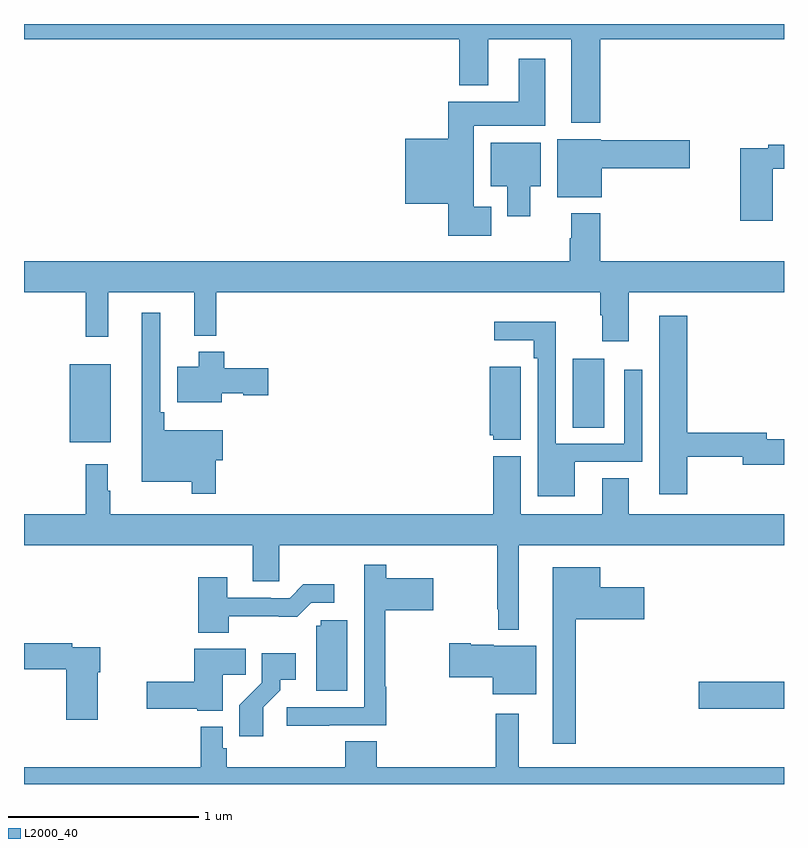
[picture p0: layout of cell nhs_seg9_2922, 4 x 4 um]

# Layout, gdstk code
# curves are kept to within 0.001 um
import gdstk
lib = gdstk.Library(unit=1e-6, precision=1e-09)
def R(c, l, rs):  # rectangles x0, y0, x1, y1
    for r in rs: c.add(gdstk.rectangle(r[:2], r[2:], *l))
def P(c, l, *ps):  # polygons
    for p in ps: c.add(gdstk.Polygon(p, *l))
L2000_40 = (2000, 40)

nhs_seg9_2922 = lib.new_cell('nhs_seg9_2922')
R(nhs_seg9_2922, L2000_40, [(282.552,1192.897,283,1193.039), (279.242,1194.299,279.457,1194.709), (281.888,1194.376,282.055,1194.739)])
P(nhs_seg9_2922, L2000_40, [(279,1196.42),(281.291,1196.42),(281.291,1196.177),(281.443,1196.177),(281.443,1196.42),(281.879,1196.42),(281.879,1195.979),(282.032,1195.979),(282.032,1196.42),(283,1196.42),(283,1196.5),(279,1196.5)],
  [(281.458,1195.537),(281.368,1195.537),(281.368,1195.964),(281.743,1195.964),(281.743,1196.317),(281.603,1196.317),(281.603,1196.092),(281.234,1196.092),(281.234,1195.897),(281.006,1195.897),(281.006,1195.553),(281.234,1195.553),(281.234,1195.385),(281.458,1195.385)],
  [(282.04,1195.742),(282.505,1195.742),(282.505,1195.889),(282.036,1195.889),(282.036,1195.894),(281.807,1195.894),(281.807,1195.589),(282.04,1195.589)],
  [(281.665,1195.646),(281.719,1195.646),(281.719,1195.876),(281.456,1195.876),(281.456,1195.646),(281.543,1195.646),(281.543,1195.488),(281.665,1195.488)],
  [(282.94,1195.737),(283,1195.737),(283,1195.865),(282.916,1195.865),(282.916,1195.845),(282.77,1195.845),(282.77,1195.464),(282.94,1195.464)],
  [(282.184,1195.088),(283,1195.088),(283,1195.252),(282.032,1195.252),(282.032,1195.504),(281.879,1195.504),(281.879,1195.373),(281.872,1195.373),(281.872,1195.252),(279,1195.252),(279,1195.088),(279.325,1195.088),(279.325,1194.855),(279.443,1194.855),(279.443,1195.088),(279.896,1195.088),(279.896,1194.86),(280.013,1194.86),(280.013,1195.088),(282.032,1195.088),(282.032,1194.968),(282.044,1194.968),(282.044,1194.831),(282.184,1194.831)],
  [(280.01,1194.203),(280.045,1194.203),(280.045,1194.361),(279.737,1194.361),(279.737,1194.457),(279.717,1194.457),(279.717,1194.979),(279.62,1194.979),(279.62,1194.092),(279.882,1194.092),(279.882,1194.027),(280.01,1194.027)],
  [(282.491,1194.222),(282.782,1194.222),(282.782,1194.179),(283,1194.179),(283,1194.314),(282.91,1194.314),(282.91,1194.35),(282.491,1194.35),(282.491,1194.964),(282.344,1194.964),(282.344,1194.024),(282.491,1194.024)],
  [(281.899,1194.195),(282.255,1194.195),(282.255,1194.679),(282.159,1194.679),(282.159,1194.291),(281.799,1194.291),(281.799,1194.934),(281.475,1194.934),(281.475,1194.836),(281.683,1194.836),(281.683,1194.74),(281.703,1194.74),(281.703,1194.014),(281.899,1194.014)],
  [(280.042,1194.557),(280.155,1194.557),(280.155,1194.545),(280.285,1194.545),(280.285,1194.687),(280.055,1194.687),(280.055,1194.775),(279.92,1194.775),(279.92,1194.697),(279.806,1194.697),(279.806,1194.509),(280.042,1194.509)],
  [(281.614,1194.697),(281.45,1194.697),(281.45,1194.336),(281.469,1194.336),(281.469,1194.311),(281.614,1194.311)],
  [(281.605,1193.756),(283,1193.756),(283,1193.92),(282.184,1193.92),(282.184,1194.11),(282.044,1194.11),(282.044,1193.92),(281.614,1193.92),(281.614,1194.226),(281.471,1194.226),(281.471,1193.92),(279.454,1193.92),(279.454,1194.044),(279.442,1194.044),(279.442,1194.184),(279.325,1194.184),(279.325,1193.92),(279,1193.92),(279,1193.756),(280.205,1193.756),(280.205,1193.566),(280.344,1193.566),(280.344,1193.756),(281.491,1193.756),(281.491,1193.419),(281.495,1193.419),(281.495,1193.312),(281.605,1193.312)],
  [(280.607,1192.809),(280.907,1192.809),(280.907,1193.012),(280.9,1193.012),(280.9,1193.414),(281.155,1193.414),(281.155,1193.584),(280.907,1193.584),(280.907,1193.653),(280.79,1193.653),(280.79,1193.43),(280.791,1193.43),(280.791,1192.905),(280.383,1192.905),(280.383,1192.807),(280.607,1192.807)],
  [(281.905,1193.366),(282.265,1193.366),(282.265,1193.536),(282.034,1193.536),(282.034,1193.641),(281.783,1193.641),(281.783,1192.713),(281.905,1192.713)],
  [(280.077,1193.382),(280.439,1193.381),(280.512,1193.454),(280.633,1193.454),(280.633,1193.551),(280.471,1193.551),(280.398,1193.478),(280.298,1193.478),(280.298,1193.481),(280.069,1193.481),(280.069,1193.587),(279.917,1193.587),(279.917,1193.297),(280.077,1193.297)],
  [(280.702,1193.361),(280.563,1193.361),(280.563,1193.334),(280.538,1193.334),(280.538,1192.99),(280.702,1192.99)],
  [(281.695,1193.227),(281.472,1193.227),(281.472,1193.234),(281.35,1193.234),(281.35,1193.24),(281.238,1193.24),(281.238,1193.062),(281.468,1193.062),(281.468,1192.973),(281.695,1192.973)],
  [(279.388,1193.087),(279.401,1193.087),(279.401,1193.22),(279.254,1193.22),(279.254,1193.24),(279,1193.24),(279,1193.104),(279.223,1193.104),(279.223,1192.839),(279.388,1192.839)],
  [(280.045,1193.074),(280.166,1193.074),(280.166,1193.212),(279.896,1193.212),(279.896,1193.039),(279.645,1193.039),(279.645,1192.897),(279.912,1192.897),(279.912,1192.886),(280.045,1192.886)],
  [(280.258,1192.903),(280.348,1192.993),(280.348,1193.048),(280.429,1193.048),(280.429,1193.188),(280.251,1193.188),(280.251,1193.033),(280.132,1192.914),(280.132,1192.752),(280.258,1192.752)],
  [(283,1192.588),(281.605,1192.588),(281.605,1192.87),(281.484,1192.87),(281.484,1192.588),(280.856,1192.588),(280.856,1192.724),(280.691,1192.724),(280.691,1192.588),(280.067,1192.588),(280.067,1192.689),(280.047,1192.689),(280.047,1192.801),(279.931,1192.801),(279.931,1192.588),(279,1192.588),(279,1192.5),(283,1192.5)])

lib.write_gds('nhs_seg9_2922.gds')
